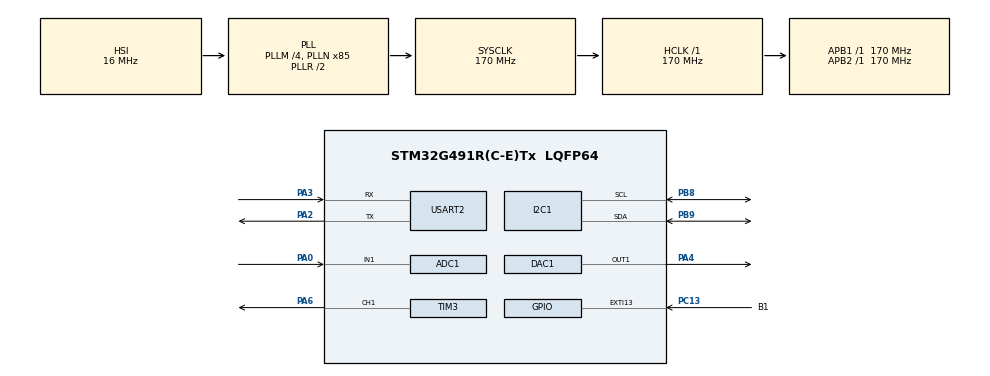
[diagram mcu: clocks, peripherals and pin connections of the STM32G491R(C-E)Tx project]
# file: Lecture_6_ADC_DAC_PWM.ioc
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ADC1.Channel-0\#ChannelRegularConversion=ADC_CHANNEL_1
ADC1.ContinuousConvMode=DISABLE
ADC1.DMAContinuousRequests=ENABLE
ADC1.ExternalTrigConv=ADC_EXTERNALTRIG_T6_TRGO
ADC1.NbrOfConversion=1
ADC1.NbrOfConversionFlag=1
ADC1.OffsetNumber-0\#ChannelRegularConversion=ADC_OFFSET_NONE
ADC1.Overrun=ADC_OVR_DATA_OVERWRITTEN
ADC1.Rank-0\#ChannelRegularConversion=1
ADC1.SamplingTime-0\#ChannelRegularConversion=ADC_SAMPLETIME_92CYCLES_5
ADC1.master=1
DAC1.DAC_SignedFormat-DAC_OUT1=DISABLE
Dma.ADC1.0.Direction=DMA_PERIPH_TO_MEMORY
Dma.ADC1.0.EventEnable=DISABLE
Dma.ADC1.0.Instance=DMA1_Channel1
Dma.ADC1.0.MemDataAlignment=DMA_MDATAALIGN_HALFWORD
Dma.ADC1.0.MemInc=DMA_MINC_ENABLE
Dma.ADC1.0.Mode=DMA_CIRCULAR
Dma.ADC1.0.PeriphDataAlignment=DMA_PDATAALIGN_HALFWORD
Dma.ADC1.0.PeriphInc=DMA_PINC_DISABLE
Dma.ADC1.0.Polarity=HAL_DMAMUX_REQ_GEN_RISING
Dma.ADC1.0.Priority=DMA_PRIORITY_LOW
Dma.ADC1.0.RequestNumber=1
Dma.ADC1.0.SignalID=NONE
Dma.ADC1.0.SyncEnable=DISABLE
Dma.ADC1.0.SyncPolarity=HAL_DMAMUX_SYNC_NO_EVENT
Dma.ADC1.0.SyncRequestNumber=1
Dma.ADC1.0.SyncSignalID=NONE
Dma.Request0=ADC1
I2C1.Timing=0x40B285C2
Mcu.Family=STM32G4
Mcu.Name=STM32G491R(C-E)Tx
Mcu.Package=LQFP64
NVIC.DMA1_Channel1_IRQn=true\:0\:0\:false\:false\:true\:false\:true\:true
NVIC.EXTI15_10_IRQn=true\:0\:0\:false\:false\:true\:true\:true\:true
NVIC.PriorityGroup=NVIC_PRIORITYGROUP_4
NVIC.TIM7_IRQn=true\:0\:0\:false\:false\:true\:true\:true\:true
NVIC.USART2_IRQn=true\:0\:0\:false\:false\:true\:true\:true\:true
PA0.Mode=IN1-Single-Ended
PA0.Signal=ADC1_IN1
PA13.GPIO_Label=T_SWDIO
PA13.Signal=SYS_JTMS-SWDIO
PA14.GPIO_Label=T_SWCLK
PA14.Signal=SYS_JTCK-SWCLK
PA2.Mode=Asynchronous
PA2.Signal=USART2_TX
PA3.Mode=Asynchronous
PA3.Signal=USART2_RX
PA4.Signal=COMP_DAC11_group
PA6.Signal=S_TIM3_CH1
PB3.GPIO_Label=T_SWO
PB3.Signal=SYS_JTDO-SWO
PB8-BOOT0.Mode=I2C
PB8-BOOT0.Signal=I2C1_SCL
PB9.Mode=I2C
PB9.Signal=I2C1_SDA
PC13.GPIO_Label=B1
PC13.GPIO_PuPd=GPIO_PULLDOWN
PC13.Signal=GPXTI13
PC14-OSC32_IN.GPIO_Label=RCC_OSC32_IN
PC14-OSC32_IN.Signal=RCC_OSC32_IN
PC15-OSC32_OUT.GPIO_Label=RCC_OSC32_OUT
PC15-OSC32_OUT.Signal=RCC_OSC32_OUT
PF0-OSC_IN.GPIO_Label=RCC_OSC_IN
PF0-OSC_IN.Signal=RCC_OSC_IN
PF1-OSC_OUT.GPIO_Label=RCC_OSC_OUT
PF1-OSC_OUT.Signal=RCC_OSC_OUT
ProjectManager.HeapSize=0x200
ProjectManager.StackSize=0x400
ProjectManager.TargetToolchain=STM32CubeIDE
RCC.ADC12Freq_Value=170000000
RCC.ADC345Freq_Value=170000000
RCC.AHBFreq_Value=170000000
RCC.APB1Freq_Value=170000000
RCC.APB1TimFreq_Value=170000000
RCC.APB2Freq_Value=170000000
RCC.APB2TimFreq_Value=170000000
RCC.CortexFreq_Value=170000000
RCC.EXTERNAL_CLOCK_VALUE=12288000
RCC.HCLKFreq_Value=170000000
RCC.HSE_VALUE=24000000
RCC.HSI48_VALUE=48000000
RCC.HSI_VALUE=16000000
RCC.LSE_VALUE=32768
RCC.PLLM=RCC_PLLM_DIV4
RCC.PLLN=85
RCC.RTCClockSelection=RCC_RTCCLKSOURCE_LSE
RCC.SYSCLKFreq_VALUE=170000000
RCC.SYSCLKSource=RCC_SYSCLKSOURCE_PLLCLK
RCC.USBFreq_Value=48000000
RCC.VCOOutputFreq_Value=340000000
SH.COMP_DAC11_group.0=DAC1_OUT1,DAC_OUT1
SH.S_TIM3_CH1.0=TIM3_CH1,PWM Generation1 CH1
TIM3.Channel-PWM\ Generation1\ CH1=TIM_CHANNEL_1
TIM3.PeriodNoDither=999
TIM3.Prescaler=169
TIM3.PulseNoDither_1=500
TIM6.PeriodNoDither=124
TIM6.Prescaler=169
TIM6.TIM_MasterOutputTrigger=TIM_TRGO_UPDATE
TIM7.PeriodNoDither=499
TIM7.Prescaler=169
USART2.VirtualMode-Asynchronous=VM_ASYNC
VP_SYS_VS_DBSignals.Mode=DisableDeadBatterySignals
VP_TIM6_VS_ClockSourceINT.Mode=Enable_Timer
VP_TIM7_VS_ClockSourceINT.Mode=Enable_Timer
board=NUCLEO-G491RE

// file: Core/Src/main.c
/* USER CODE BEGIN Header */
/**
 ******************************************************************************
 * @file           : main.c
 * @brief          : Main program body
 ******************************************************************************
 * @attention
 *
 * Copyright (c) 2026 STMicroelectronics.
 * All rights reserved.
 *
 * This software is licensed under terms that can be found in the LICENSE file
 * in the root directory of this software component.
 * If no LICENSE file comes with this software, it is provided AS-IS.
 *
 ******************************************************************************
 */
/* USER CODE END Header */
#include "main.h"
#include "adc.h"
#include "dac.h"
#include "dma.h"
#include "i2c.h"
#include "tim.h"
#include "usart.h"
#include "gpio.h"

/* USER CODE BEGIN Includes */
#include "cmd_parser.h"
#include "events_handler.h"
#include "flash_manager.h"
#include "mpu6050.h"
#include "ring_buffer.h"

#include <math.h>
#include <stdio.h>
#include <string.h>
/* USER CODE END Includes */

/* USER CODE BEGIN PD */
#define ADC_BUF_LEN 128	//dma buffer size
/* USER CODE END PD */

/* USER CODE BEGIN PV */
AppConfig_t config;
MPU6050_Data_t mpu_data;
RingBuffer_t uart_rx_rb;
uint8_t rx_byte;
uint8_t line_index = 0;
uint8_t line_overflow = 0;
uint8_t alarm_active = 0;
char line_buffer[64];
char cmd_response[256];
float current_roll = 0.0f;
float current_pitch = 0.0f;
float accel_g = 0.0f;
volatile uint16_t adc_buf[ADC_BUF_LEN];	//dma buffer
volatile uint8_t adc_half_ready = 0;	//half buffer full flag
volatile uint8_t adc_full_ready = 0;	//buffer full flag

volatile uint16_t adc_min = 4095;
volatile uint16_t adc_max = 0;

volatile uint8_t speaker_enable = 0;
volatile uint8_t dac_state = 0;
volatile uint32_t dac_ov = 2048;		//center of signal amplitude
volatile uint32_t dac_change = 0;		//amplitude

volatile uint32_t pwm_puls = 500;

volatile uint16_t c = 0;				//task management counter
/* USER CODE END PV */

void SystemClock_Config(void);
/* USER CODE BEGIN PFP */
static void App_ProcessAlarm(void);
static void App_ProcessEvents(void);
static void App_SendText(const char *text);
static void App_SendReport(void);

/* USER CODE END PFP */

int main(void)
{

  /* MCU Configuration--------------------------------------------------------*/

  /* Reset of all peripherals, Initializes the Flash interface and the Systick. */
  HAL_Init();

  /* Configure the system clock */
  SystemClock_Config();

  /* Initialize all configured peripherals */
  MX_GPIO_Init();
  MX_DMA_Init();
  MX_ADC1_Init();
  MX_DAC1_Init();
  MX_TIM6_Init();
  MX_TIM7_Init();
  MX_TIM3_Init();
  MX_I2C1_Init();
  MX_USART2_UART_Init();
  /* USER CODE BEGIN 2 */
  RB_Init(&uart_rx_rb);
  CMD_Parser_Init();
  Events_Init();
  if (Flash_LoadConfig(&config) != HAL_OK)
  {
    Flash_SetDefaults(&config);
  }
  MPU6050_Init(&hi2c1);
  HAL_UART_Receive_IT(&huart2, &rx_byte, 1);
	HAL_ADCEx_Calibration_Start(&hadc1, ADC_SINGLE_ENDED);
	HAL_ADC_Start_DMA(&hadc1, (uint32_t*) adc_buf, ADC_BUF_LEN);
	HAL_TIM_Base_Start(&htim6);

	HAL_DAC_Start(&hdac1, DAC_CHANNEL_1);
	HAL_DAC_SetValue(&hdac1, DAC_CHANNEL_1, DAC_ALIGN_12B_R, 2048);

	HAL_TIM_Base_Start_IT(&htim7);

	__HAL_TIM_SET_COMPARE(&htim3, TIM_CHANNEL_1, 0);
	HAL_TIM_PWM_Stop(&htim3, TIM_CHANNEL_1);
  /* USER CODE END 2 */

  /* Infinite loop */
  /* USER CODE BEGIN WHILE */
	while (1) {
		//half the buffer is full
		if (adc_half_ready) {
			adc_half_ready = 0;
			ProcessSamples(0);
		}
		//the second part of the buffer is full
		if (adc_full_ready) {
			adc_full_ready = 1;
			ProcessSamples(ADC_BUF_LEN / 2);
		}

		//change of sound signal
		if ((c > 1000) && (speaker_enable == 0))
			speaker_enable = 1;
		if (c > 2000) {
			speaker_enable = 0;
			c = 0;
		}

    /* USER CODE END WHILE */

    /* USER CODE BEGIN 3 */
    uint8_t rb_byte;

    MPU6050_Update(NULL, &mpu_data);
    current_roll = mpu_data.roll_kalman - config.offset_roll;
    current_pitch = mpu_data.pitch_kalman - config.offset_pitch;
    accel_g = sqrtf((mpu_data.ax_g * mpu_data.ax_g) +
                    (mpu_data.ay_g * mpu_data.ay_g) +
                    (mpu_data.az_g * mpu_data.az_g));

    Events_Process();
    App_ProcessAlarm();
    App_ProcessEvents();

    while (RB_Read(&uart_rx_rb, &rb_byte) == 0)
    {
      if ((rb_byte == '\n') || (rb_byte == '\r'))
      {
        if (line_overflow != 0U)
        {
          line_overflow = 0U;
          line_index = 0U;
        }
        else if (line_index > 0U)
        {
          uint8_t config_changed;

          line_buffer[line_index] = '\0';
          config_changed = CMD_Parser_ProcessLine(line_buffer,
                                                  &config,
                                                  cmd_response,
                                                  sizeof(cmd_response));
          if (config_changed != 0U)
          {
            (void)Flash_SaveConfig(&config);
          }
          HAL_UART_Transmit(&huart2,
                            (uint8_t*)cmd_response,
                            (uint16_t)strlen(cmd_response),
                            HAL_MAX_DELAY);
          line_index = 0U;
        }
      }
      else if (line_overflow != 0U)
      {
        /* Ignore the rest of an overlong command until end of line. */
      }
      else if (line_index < (sizeof(line_buffer) - 1U))
      {
        line_buffer[line_index] = (char)rb_byte;
        line_index++;
      }
      else
      {
        line_index = 0U;
        line_overflow = 1U;
      }
    }

    HAL_Delay(10);
	}
  /* USER CODE END 3 */
}

void SystemClock_Config(void)
{
  RCC_OscInitTypeDef RCC_OscInitStruct = {0};
  RCC_ClkInitTypeDef RCC_ClkInitStruct = {0};

  /** Configure the main internal regulator output voltage
  */
  HAL_PWREx_ControlVoltageScaling(PWR_REGULATOR_VOLTAGE_SCALE1_BOOST);

  /** Initializes the RCC Oscillators according to the specified parameters
  * in the RCC_OscInitTypeDef structure.
  */
  RCC_OscInitStruct.OscillatorType = RCC_OSCILLATORTYPE_HSI;
  RCC_OscInitStruct.HSIState = RCC_HSI_ON;
  RCC_OscInitStruct.HSICalibrationValue = RCC_HSICALIBRATION_DEFAULT;
  RCC_OscInitStruct.PLL.PLLState = RCC_PLL_ON;
  RCC_OscInitStruct.PLL.PLLSource = RCC_PLLSOURCE_HSI;
  RCC_OscInitStruct.PLL.PLLM = RCC_PLLM_DIV4;
  RCC_OscInitStruct.PLL.PLLN = 85;
  RCC_OscInitStruct.PLL.PLLP = RCC_PLLP_DIV2;
  RCC_OscInitStruct.PLL.PLLQ = RCC_PLLQ_DIV2;
  RCC_OscInitStruct.PLL.PLLR = RCC_PLLR_DIV2;
  if (HAL_RCC_OscConfig(&RCC_OscInitStruct) != HAL_OK)
  {
    Error_Handler();
  }

  /** Initializes the CPU, AHB and APB buses clocks
  */
  RCC_ClkInitStruct.ClockType = RCC_CLOCKTYPE_HCLK|RCC_CLOCKTYPE_SYSCLK
                              |RCC_CLOCKTYPE_PCLK1|RCC_CLOCKTYPE_PCLK2;
  RCC_ClkInitStruct.SYSCLKSource = RCC_SYSCLKSOURCE_PLLCLK;
  RCC_ClkInitStruct.AHBCLKDivider = RCC_SYSCLK_DIV1;
  RCC_ClkInitStruct.APB1CLKDivider = RCC_HCLK_DIV1;
  RCC_ClkInitStruct.APB2CLKDivider = RCC_HCLK_DIV1;

  if (HAL_RCC_ClockConfig(&RCC_ClkInitStruct, FLASH_LATENCY_4) != HAL_OK)
  {
    Error_Handler();
  }
}

/* USER CODE BEGIN 4 */
static void App_ProcessAlarm(void)
{
	uint32_t period = htim3.Init.Period;
	uint32_t volume = config.volume_percent;
	uint32_t pulse;

	if (volume > 100U) {
		volume = 100U;
	}

	if ((config.threshold_g > 0.0f) && (accel_g > config.threshold_g)) {
		pulse = ((period + 1U) * volume) / 100U;
		if (pulse > period) {
			pulse = period;
		}

		__HAL_TIM_SET_COMPARE(&htim3, TIM_CHANNEL_1, pulse);
		if (alarm_active == 0U) {
			HAL_TIM_PWM_Start(&htim3, TIM_CHANNEL_1);
			alarm_active = 1U;
		}
	} else if (alarm_active != 0U) {
		__HAL_TIM_SET_COMPARE(&htim3, TIM_CHANNEL_1, 0U);
		HAL_TIM_PWM_Stop(&htim3, TIM_CHANNEL_1);
		alarm_active = 0U;
	}
}

static void App_ProcessEvents(void)
{
	if (event_set_level_offset != 0U) {
		event_set_level_offset = 0U;
		config.offset_roll = mpu_data.roll_kalman;
		config.offset_pitch = mpu_data.pitch_kalman;
		current_roll = mpu_data.roll_kalman - config.offset_roll;
		current_pitch = mpu_data.pitch_kalman - config.offset_pitch;
		(void)Flash_SaveConfig(&config);
		App_SendText("OK: level offset saved\r\n");
	}

	if (event_save_max != 0U) {
		event_save_max = 0U;
		if (fabsf(current_roll) > fabsf(config.max_roll)) {
			config.max_roll = current_roll;
		}
		if (fabsf(current_pitch) > fabsf(config.max_pitch)) {
			config.max_pitch = current_pitch;
		}
		(void)Flash_SaveConfig(&config);
		App_SendText("OK: max angles saved\r\n");
	}

	if (event_double_clap != 0U) {
		event_double_clap = 0U;
		App_SendReport();
	}
}

static void App_SendText(const char *text)
{
	if (text == NULL) {
		return;
	}

	HAL_UART_Transmit(&huart2,
	                  (uint8_t*)text,
	                  (uint16_t)strlen(text),
	                  HAL_MAX_DELAY);
}

static void App_SendReport(void)
{
	(void)snprintf(cmd_response,
	               sizeof(cmd_response),
	               "REPORT: roll=%.2f, pitch=%.2f, max_roll=%.2f, max_pitch=%.2f, accel_g=%.2f, threshold_g=%.2f, volume=%u\r\n",
	               (double)current_roll,
	               (double)current_pitch,
	               (double)config.max_roll,
	               (double)config.max_pitch,
	               (double)accel_g,
	               (double)config.threshold_g,
	               (unsigned int)config.volume_percent);
	App_SendText(cmd_response);
}

void HAL_UART_RxCpltCallback(UART_HandleTypeDef *huart)
{
	if (huart->Instance == USART2) {
		(void)RB_Write(&uart_rx_rb, rx_byte);
		HAL_UART_Receive_IT(&huart2, &rx_byte, 1);
	}
}

//setting the half-buffer-full flag
void HAL_ADC_ConvHalfCpltCallback(ADC_HandleTypeDef *hadc) {
	if (hadc->Instance == ADC1) {
		adc_half_ready = 1;
	}
}

//setting the flag that the entire buffer is full
void HAL_ADC_ConvCpltCallback(ADC_HandleTypeDef *hadc) {
	if (hadc->Instance == ADC1) {
		adc_full_ready = 1;
	}
}

//finding maximum and minimum adc values
void ProcessSamples(uint16_t start_i) {
	uint8_t reset_flag = 1;
	for (uint16_t i = start_i; i < (start_i + (ADC_BUF_LEN / 2)); i++) {
		if ((adc_buf[i] < adc_min) || reset_flag)
			adc_min = adc_buf[i];
		if ((adc_buf[i] > adc_max) || reset_flag)
			adc_max = adc_buf[i];
		reset_flag = 0;
	}
}

//generating a variable analog signal
void HAL_TIM_PeriodElapsedCallback(TIM_HandleTypeDef *htim) {
	if (htim->Instance == TIM7) {
		if (speaker_enable) {
			if (dac_state) {
				HAL_DAC_SetValue(&hdac1, DAC_CHANNEL_1, DAC_ALIGN_12B_R,
						dac_ov + dac_change);
				dac_state = 0;
			} else {
				HAL_DAC_SetValue(&hdac1, DAC_CHANNEL_1, DAC_ALIGN_12B_R,
						dac_ov - dac_change);
				dac_state = 1;
			}
		} else {

			HAL_DAC_SetValue(&hdac1, DAC_CHANNEL_1, DAC_ALIGN_12B_R, 2048);
		}
		c = c + 1;
	}
}

//increasing the signal amplitude
void HAL_GPIO_EXTI_Callback(uint16_t GPIO_Pin) {
	Events_GPIO_EXTI_Callback(GPIO_Pin);

	if ((GPIO_Pin == B1_Pin) && (HAL_GPIO_ReadPin(B1_GPIO_Port, B1_Pin) == GPIO_PIN_SET)) {
		pwm_puls = pwm_puls + 50;
		if (pwm_puls > 999) {
			pwm_puls = 0;
		}
		htim3.Instance->CCR1 = pwm_puls;	//PWM signal duty cycle

		dac_change = dac_change + 50;
		if (dac_change > 2040) {
			dac_change = 0;
		}
	}
}
/* USER CODE END 4 */

void Error_Handler(void)
{
	__disable_irq();
	while (1) {
	}
}
